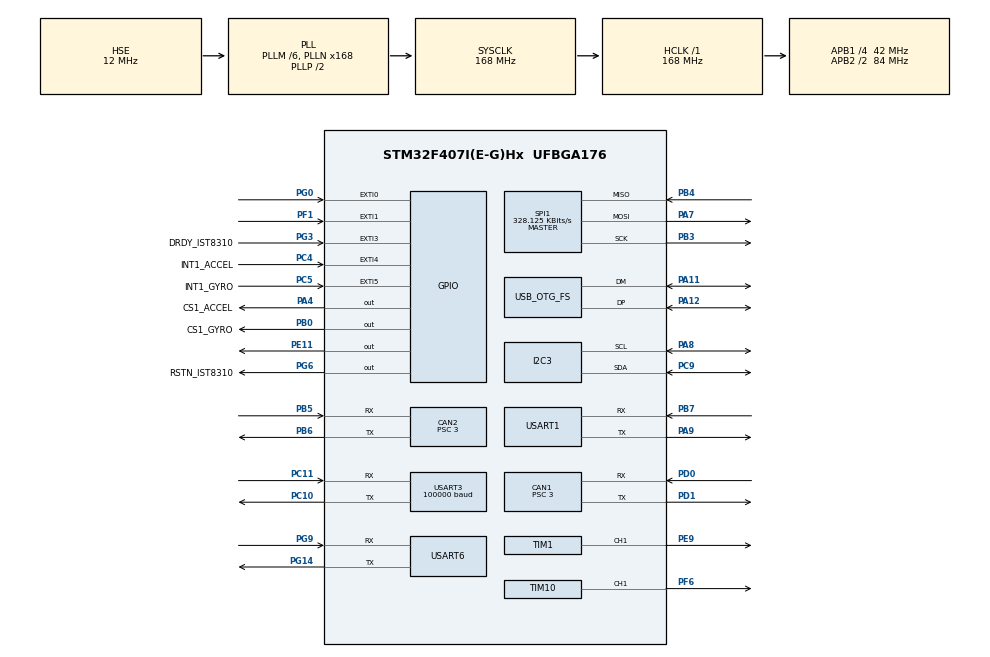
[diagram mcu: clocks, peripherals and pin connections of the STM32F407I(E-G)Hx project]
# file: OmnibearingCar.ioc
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CAN1.AWUM=ENABLE
CAN1.BS1=CAN_BS1_10TQ
CAN1.BS2=CAN_BS2_3TQ
CAN1.CalculateBaudRate=1000000
CAN1.CalculateTimeBit=1000
CAN1.CalculateTimeQuantum=71.42857142857143
CAN1.NART=ENABLE
CAN1.Prescaler=3
CAN2.AWUM=ENABLE
CAN2.BS1=CAN_BS1_10TQ
CAN2.BS2=CAN_BS2_3TQ
CAN2.CalculateBaudRate=1000000
CAN2.CalculateTimeBit=1000
CAN2.CalculateTimeQuantum=71.42857142857143
CAN2.NART=ENABLE
CAN2.Prescaler=3
Dma.Request0=SPI1_RX
Dma.Request1=SPI1_TX
Dma.Request2=USART6_RX
Dma.Request3=USART6_TX
Dma.Request4=USART1_TX
Dma.Request5=USART3_RX
Dma.SPI1_RX.0.Direction=DMA_PERIPH_TO_MEMORY
Dma.SPI1_RX.0.FIFOMode=DMA_FIFOMODE_DISABLE
Dma.SPI1_RX.0.Instance=DMA2_Stream2
Dma.SPI1_RX.0.MemDataAlignment=DMA_MDATAALIGN_BYTE
Dma.SPI1_RX.0.MemInc=DMA_MINC_ENABLE
Dma.SPI1_RX.0.Mode=DMA_NORMAL
Dma.SPI1_RX.0.PeriphDataAlignment=DMA_PDATAALIGN_BYTE
Dma.SPI1_RX.0.PeriphInc=DMA_PINC_DISABLE
Dma.SPI1_RX.0.Priority=DMA_PRIORITY_LOW
Dma.SPI1_TX.1.Direction=DMA_MEMORY_TO_PERIPH
Dma.SPI1_TX.1.FIFOMode=DMA_FIFOMODE_DISABLE
Dma.SPI1_TX.1.Instance=DMA2_Stream3
Dma.SPI1_TX.1.MemDataAlignment=DMA_MDATAALIGN_BYTE
Dma.SPI1_TX.1.MemInc=DMA_MINC_ENABLE
Dma.SPI1_TX.1.Mode=DMA_NORMAL
Dma.SPI1_TX.1.PeriphDataAlignment=DMA_PDATAALIGN_BYTE
Dma.SPI1_TX.1.PeriphInc=DMA_PINC_DISABLE
Dma.SPI1_TX.1.Priority=DMA_PRIORITY_LOW
Dma.USART1_TX.4.Direction=DMA_MEMORY_TO_PERIPH
Dma.USART1_TX.4.FIFOMode=DMA_FIFOMODE_DISABLE
Dma.USART1_TX.4.Instance=DMA2_Stream7
Dma.USART1_TX.4.MemDataAlignment=DMA_MDATAALIGN_BYTE
Dma.USART1_TX.4.MemInc=DMA_MINC_ENABLE
Dma.USART1_TX.4.Mode=DMA_NORMAL
Dma.USART1_TX.4.PeriphDataAlignment=DMA_PDATAALIGN_BYTE
Dma.USART1_TX.4.PeriphInc=DMA_PINC_DISABLE
Dma.USART1_TX.4.Priority=DMA_PRIORITY_LOW
Dma.USART3_RX.5.Direction=DMA_PERIPH_TO_MEMORY
Dma.USART3_RX.5.FIFOMode=DMA_FIFOMODE_DISABLE
Dma.USART3_RX.5.Instance=DMA1_Stream1
Dma.USART3_RX.5.MemDataAlignment=DMA_MDATAALIGN_BYTE
Dma.USART3_RX.5.MemInc=DMA_MINC_ENABLE
Dma.USART3_RX.5.Mode=DMA_CIRCULAR
Dma.USART3_RX.5.PeriphDataAlignment=DMA_PDATAALIGN_BYTE
Dma.USART3_RX.5.PeriphInc=DMA_PINC_DISABLE
Dma.USART3_RX.5.Priority=DMA_PRIORITY_LOW
Dma.USART6_RX.2.Direction=DMA_PERIPH_TO_MEMORY
Dma.USART6_RX.2.FIFOMode=DMA_FIFOMODE_DISABLE
Dma.USART6_RX.2.Instance=DMA2_Stream1
Dma.USART6_RX.2.MemDataAlignment=DMA_MDATAALIGN_BYTE
Dma.USART6_RX.2.MemInc=DMA_MINC_ENABLE
Dma.USART6_RX.2.Mode=DMA_CIRCULAR
Dma.USART6_RX.2.PeriphDataAlignment=DMA_PDATAALIGN_BYTE
Dma.USART6_RX.2.PeriphInc=DMA_PINC_DISABLE
Dma.USART6_RX.2.Priority=DMA_PRIORITY_LOW
Dma.USART6_TX.3.Direction=DMA_MEMORY_TO_PERIPH
Dma.USART6_TX.3.FIFOMode=DMA_FIFOMODE_DISABLE
Dma.USART6_TX.3.Instance=DMA2_Stream6
Dma.USART6_TX.3.MemDataAlignment=DMA_MDATAALIGN_BYTE
Dma.USART6_TX.3.MemInc=DMA_MINC_ENABLE
Dma.USART6_TX.3.Mode=DMA_CIRCULAR
Dma.USART6_TX.3.PeriphDataAlignment=DMA_PDATAALIGN_BYTE
Dma.USART6_TX.3.PeriphInc=DMA_PINC_DISABLE
Dma.USART6_TX.3.Priority=DMA_PRIORITY_LOW
FREERTOS.INCLUDE_eTaskGetState=1
FREERTOS.INCLUDE_pcTaskGetTaskName=1
FREERTOS.INCLUDE_uxTaskGetStackHighWaterMark=1
FREERTOS.INCLUDE_uxTaskGetStackHighWaterMark2=1
FREERTOS.INCLUDE_vTaskCleanUpResources=1
FREERTOS.INCLUDE_vTaskDelayUntil=1
FREERTOS.INCLUDE_xQueueGetMutexHolder=1
FREERTOS.INCLUDE_xSemaphoreGetMutexHolder=1
FREERTOS.INCLUDE_xTaskAbortDelay=1
FREERTOS.INCLUDE_xTaskGetCurrentTaskHandle=1
FREERTOS.INCLUDE_xTaskGetHandle=1
FREERTOS.Tasks01=Chassis,3,256,ChassisTask,As weak,NULL,Dynamic,NULL,NULL;Gimbal,3,256,GimbalTask,As weak,NULL,Dynamic,NULL,NULL;Shoot,3,256,ShootTask,As weak,NULL,Dynamic,NULL,NULL;IMU_TASK,3,256,INS_Task,As weak,NULL,Dynamic,NULL,NULL;UI,0,256,UI_Task,As weak,NULL,Dynamic,NULL,NULL
I2C3.I2C_Mode=I2C_Fast
Mcu.Family=STM32F4
Mcu.Name=STM32F407I(E-G)Hx
Mcu.Package=UFBGA176
NVIC.CAN1_RX0_IRQn=true\:5\:0\:false\:false\:true\:true\:true\:true\:true
NVIC.CAN2_RX1_IRQn=true\:5\:0\:false\:false\:true\:true\:true\:true\:true
NVIC.DMA1_Stream1_IRQn=true\:5\:0\:false\:false\:true\:true\:false\:true\:true
NVIC.DMA2_Stream1_IRQn=true\:5\:0\:false\:false\:true\:true\:false\:true\:true
NVIC.DMA2_Stream2_IRQn=true\:5\:0\:false\:false\:true\:true\:false\:true\:true
NVIC.DMA2_Stream3_IRQn=true\:5\:0\:false\:false\:true\:true\:false\:true\:true
NVIC.DMA2_Stream6_IRQn=true\:5\:0\:false\:false\:true\:true\:false\:true\:true
NVIC.DMA2_Stream7_IRQn=true\:5\:0\:false\:false\:true\:true\:false\:true\:true
NVIC.EXTI0_IRQn=true\:5\:0\:true\:false\:true\:true\:true\:true\:true
NVIC.EXTI1_IRQn=true\:5\:0\:false\:false\:true\:true\:true\:true\:true
NVIC.EXTI3_IRQn=true\:5\:0\:false\:false\:true\:true\:true\:true\:true
NVIC.EXTI4_IRQn=true\:5\:0\:false\:false\:true\:true\:true\:true\:true
NVIC.EXTI9_5_IRQn=true\:5\:0\:false\:false\:true\:true\:true\:true\:true
NVIC.OTG_FS_IRQn=true\:5\:0\:false\:false\:true\:true\:false\:true\:true
NVIC.PriorityGroup=NVIC_PRIORITYGROUP_4
NVIC.TIM2_IRQn=true\:15\:0\:false\:false\:true\:false\:false\:true\:true
NVIC.TimeBase=TIM2_IRQn
NVIC.TimeBaseIP=TIM2
NVIC.USART1_IRQn=true\:5\:0\:false\:false\:true\:true\:true\:true\:true
NVIC.USART3_IRQn=true\:5\:0\:false\:false\:true\:true\:true\:true\:true
NVIC.USART6_IRQn=true\:5\:0\:false\:false\:true\:true\:true\:true\:true
PA11.Mode=Device_Only
PA11.Signal=USB_OTG_FS_DM
PA12.Mode=Device_Only
PA12.Signal=USB_OTG_FS_DP
PA13.Mode=Serial_Wire
PA13.Signal=SYS_JTMS-SWDIO
PA14.Mode=Serial_Wire
PA14.Signal=SYS_JTCK-SWCLK
PA4.GPIO_Label=CS1_ACCEL
PA4.GPIO_PuPd=GPIO_PULLUP
PA4.GPIO_Speed=GPIO_SPEED_FREQ_HIGH
PA4.PinState=GPIO_PIN_SET
PA4.Signal=GPIO_Output
PA7.Mode=Full_Duplex_Master
PA7.Signal=SPI1_MOSI
PA8.Mode=I2C
PA8.Signal=I2C3_SCL
PA9.Mode=Asynchronous
PA9.Signal=USART1_TX
PB0.GPIO_Label=CS1_GYRO
PB0.GPIO_ModeDefaultOutputPP=GPIO_MODE_OUTPUT_PP
PB0.GPIO_PuPd=GPIO_PULLUP
PB0.GPIO_Speed=GPIO_SPEED_FREQ_HIGH
PB0.PinState=GPIO_PIN_SET
PB0.Signal=GPIO_Output
PB3.Mode=Full_Duplex_Master
PB3.Signal=SPI1_SCK
PB4.Mode=Full_Duplex_Master
PB4.Signal=SPI1_MISO
PB5.Mode=CAN_Activate
PB5.Signal=CAN2_RX
PB6.Mode=CAN_Activate
PB6.Signal=CAN2_TX
PB7.Mode=Asynchronous
PB7.Signal=USART1_RX
PC10.Mode=Asynchronous
PC10.Signal=USART3_TX
PC11.Mode=Asynchronous
PC11.Signal=USART3_RX
PC14-OSC32_IN.Mode=LSE-External-Oscillator
PC14-OSC32_IN.Signal=RCC_OSC32_IN
PC15-OSC32_OUT.Mode=LSE-External-Oscillator
PC15-OSC32_OUT.Signal=RCC_OSC32_OUT
PC4.GPIO_Label=INT1_ACCEL
PC4.GPIO_PuPd=GPIO_PULLUP
PC4.Signal=GPXTI4
PC5.GPIO_Label=INT1_GYRO
PC5.GPIO_PuPd=GPIO_PULLUP
PC5.Signal=GPXTI5
PC9.Mode=I2C
PC9.Signal=I2C3_SDA
PD0.Mode=CAN_Activate
PD0.Signal=CAN1_RX
PD1.Mode=CAN_Activate
PD1.Signal=CAN1_TX
PE11.Signal=GPIO_Output
PE9.Signal=S_TIM1_CH1
PF1.Signal=GPXTI1
PF6.GPIO_PuPd=GPIO_PULLUP
PF6.GPIO_Speed=GPIO_SPEED_FREQ_HIGH
PF6.Signal=S_TIM10_CH1
PG0.GPIO_PuPd=GPIO_PULLUP
PG0.Signal=GPXTI0
PG14.Mode=Asynchronous
PG14.Signal=USART6_TX
PG3.GPIO_Label=DRDY_IST8310
PG3.GPIO_PuPd=GPIO_PULLUP
PG3.Signal=GPXTI3
PG6.GPIO_Label=RSTN_IST8310
PG6.GPIO_ModeDefaultOutputPP=GPIO_MODE_OUTPUT_PP
PG6.GPIO_PuPd=GPIO_PULLUP
PG6.GPIO_Speed=GPIO_SPEED_FREQ_MEDIUM
PG6.PinState=GPIO_PIN_SET
PG6.Signal=GPIO_Output
PG9.Mode=Asynchronous
PG9.Signal=USART6_RX
PH0-OSC_IN.Mode=HSE-External-Oscillator
PH0-OSC_IN.Signal=RCC_OSC_IN
PH1-OSC_OUT.Mode=HSE-External-Oscillator
PH1-OSC_OUT.Signal=RCC_OSC_OUT
ProjectManager.HeapSize=0x200
ProjectManager.StackSize=0x400
ProjectManager.TargetToolchain=MDK-ARM V5.32
RCC.48MHZClocksFreq_Value=48000000
RCC.AHBFreq_Value=168000000
RCC.APB1CLKDivider=RCC_HCLK_DIV4
RCC.APB1Freq_Value=42000000
RCC.APB1TimFreq_Value=84000000
RCC.APB2CLKDivider=RCC_HCLK_DIV2
RCC.APB2Freq_Value=84000000
RCC.APB2TimFreq_Value=168000000
RCC.CortexFreq_Value=168000000
RCC.HCLKFreq_Value=168000000
RCC.HSE_VALUE=12000000
RCC.HSI_VALUE=16000000
RCC.PLLM=6
RCC.PLLN=168
RCC.PLLQ=7
RCC.SYSCLKFreq_VALUE=168000000
RCC.SYSCLKSource=RCC_SYSCLKSOURCE_PLLCLK
RCC.VCOOutputFreq_Value=336000000
SH.S_TIM10_CH1.0=TIM10_CH1,PWM Generation1 CH1
SH.S_TIM1_CH1.0=TIM1_CH1,PWM Generation1 CH1
SPI1.BaudRatePrescaler=SPI_BAUDRATEPRESCALER_256
SPI1.CLKPhase=SPI_PHASE_2EDGE
SPI1.CLKPolarity=SPI_POLARITY_HIGH
SPI1.CalculateBaudRate=328.125 KBits/s
SPI1.Direction=SPI_DIRECTION_2LINES
SPI1.Mode=SPI_MODE_MASTER
SPI1.VirtualType=VM_MASTER
TIM1.Channel-PWM\ Generation1\ CH1=TIM_CHANNEL_1
TIM1.Period=20000-1
TIM1.Prescaler=168-1
TIM1.Pulse-PWM\ Generation1\ CH1=2000
TIM10.Channel=TIM_CHANNEL_1
TIM10.OC1Preload_PWM=ENABLE
TIM10.Period=5000-1
USART1.VirtualMode=VM_ASYNC
USART3.BaudRate=100000
USART3.Parity=PARITY_EVEN
USART3.VirtualMode=VM_ASYNC
USART3.WordLength=WORDLENGTH_9B
USART6.VirtualMode=VM_ASYNC
USB_DEVICE.CLASS_NAME_FS=CDC
USB_DEVICE.VirtualMode-CDC_FS=Cdc
USB_DEVICE.VirtualModeFS=Cdc_FS
USB_OTG_FS.VirtualMode=Device_Only
VP_FREERTOS_VS_CMSIS_V1.Mode=CMSIS_V1
VP_SYS_VS_tim2.Mode=TIM2
VP_TIM10_VS_ClockSourceINT.Mode=Enable_Timer
VP_TIM1_VS_ClockSourceINT.Mode=Internal
VP_USB_DEVICE_VS_USB_DEVICE_CDC_FS.Mode=CDC_FS
board=custom

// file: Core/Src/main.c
/* USER CODE BEGIN Header */
/**
  ******************************************************************************
  * @file           : main.c
  * @brief          : Main program body
  ******************************************************************************
  * @attention
  *
  * Copyright (c) 2024 STMicroelectronics.
  * All rights reserved.
  *
  * This software is licensed under terms that can be found in the LICENSE file
  * in the root directory of this software component.
  * If no LICENSE file comes with this software, it is provided AS-IS.
  *
  ******************************************************************************
  */
/* USER CODE END Header */
#include "main.h"
#include "cmsis_os.h"
#include "can.h"
#include "dma.h"
#include "i2c.h"
#include "spi.h"
#include "tim.h"
#include "usart.h"
#include "usb_device.h"
#include "gpio.h"

/* USER CODE BEGIN Includes */
#include "dri_can.h"
#include "dri_uart.h"
#include "Car_Mode.h"
#include "dvc_dji_gm6020.h"
#include "dvc_dji_m3508.h"
#include "dvc_dr16.h"
#include "Chassis.h"
#include "Gimbal.h"
#include "dvc_dji_m2006.h"
#include "IMU_Task.h"
#include "dvc_judge.h"
#include "dvc_supercap.h"

/* USER CODE END Includes */

/* USER CODE BEGIN PTD */
/******************************陀螺仪解算相关系数*******************************/
float INS_angle[3] = {0.0f, 0.0f, 0.0f};
float IMU_angle[3] = {0.0f, 0.0f, 0.0f};
/******************************整车电机相关系数*******************************/
Moto_M3508_t M3508_Chassis[4],M3508_Shoot[2];
Moto_GM6020_t GM6020_Yaw,GM6020_Pitch;
Moto_M2006_t M2006_Rammer;
float Set_Yaw,Set_Pitch;
Car_Mode_t Car_Mode;
float ZiMiao_Add_Yaw,ZiMiao_Add_Pitch;
/******************************遥控器相关系数*******************************/
RC_t RC;
uint8_t RC_Data[18];
/******************************底盘解算相关系数*******************************/
Chassis_Speed_t Temp1_Chassis_Speed,Temp2_Chassis_Speed;Chassis_Speed_t Chassis_Speed;
Gimbal_Add_t Gimbal_Add;
PID_struct_t Follow_PID;
/******************************小电脑通信相关系数*******************************/
Computer_Rx_Message_t Computer_Rx_Message;
Computer_Tx_Message_t Computer_Tx_Message;
uint8_t judge_rx_buff[JUDGE_MAX_LENGTH];
/*******************************裁判系统相关系数******************************/
float Chassis_Power_Limit,Chassis_Power_Buffer;
/*******************************超电相关系数******************************/
SuperCap_Tx_Message_t SuperCap_Tx_Message;
SuperCap_Rx_Message_t SuperCap_Rx_Message;
SuperCap_Mode_t SuperCap_Mode;
SuperCap_Switch_t SuperCap_Switch;
/* USER CODE END PTD */

void SystemClock_Config(void);
void MX_FREERTOS_Init(void);

int main(void)
{

  /* MCU Configuration--------------------------------------------------------*/

  /* Reset of all peripherals, Initializes the Flash interface and the Systick. */
  HAL_Init();

  /* Configure the system clock */
  SystemClock_Config();

  /* Initialize all configured peripherals */
  MX_GPIO_Init();
  MX_DMA_Init();
  MX_CAN1_Init();
  MX_USART3_UART_Init();
  MX_TIM1_Init();
  MX_CAN2_Init();
  MX_SPI1_Init();
  MX_TIM10_Init();
  MX_I2C3_Init();
  MX_USART6_UART_Init();
  MX_USART1_UART_Init();
  /* USER CODE BEGIN 2 */
    CAN_Filter_Init();//can1,can2过滤器配置及初始化
	HAL_UART_Receive_DMA(&huart3,RC_Data,sizeof(RC_Data));//开启uart3 DMA接收遥控器消息
  __HAL_UART_ENABLE_IT(&huart6, UART_IT_IDLE);//使能uart6中断,用于裁判系统读取
	HAL_UART_Receive_DMA(&huart6,judge_rx_buff,2000);//打开DMA接收，数据存入rx_buffer_judge数组中
	Car_Init();//初始化车辆模式
	MX_USB_DEVICE_Init();//开启虚拟串口，接收小电脑数据
	Computer_Init();//小电脑通信初始化
  /* USER CODE END 2 */

  /* Call init function for freertos objects (in cmsis_os2.c) */
  MX_FREERTOS_Init();

  /* Start scheduler */
  osKernelStart();

  /* We should never get here as control is now taken by the scheduler */

  /* Infinite loop */
  while (1)
  {

  }
}

void SystemClock_Config(void)
{
  RCC_OscInitTypeDef RCC_OscInitStruct = {0};
  RCC_ClkInitTypeDef RCC_ClkInitStruct = {0};

  /** Configure the main internal regulator output voltage
  */
  __HAL_RCC_PWR_CLK_ENABLE();
  __HAL_PWR_VOLTAGESCALING_CONFIG(PWR_REGULATOR_VOLTAGE_SCALE1);

  /** Initializes the RCC Oscillators according to the specified parameters
  * in the RCC_OscInitTypeDef structure.
  */
  RCC_OscInitStruct.OscillatorType = RCC_OSCILLATORTYPE_HSE;
  RCC_OscInitStruct.HSEState = RCC_HSE_ON;
  RCC_OscInitStruct.PLL.PLLState = RCC_PLL_ON;
  RCC_OscInitStruct.PLL.PLLSource = RCC_PLLSOURCE_HSE;
  RCC_OscInitStruct.PLL.PLLM = 6;
  RCC_OscInitStruct.PLL.PLLN = 168;
  RCC_OscInitStruct.PLL.PLLP = RCC_PLLP_DIV2;
  RCC_OscInitStruct.PLL.PLLQ = 7;
  if (HAL_RCC_OscConfig(&RCC_OscInitStruct) != HAL_OK)
  {
    Error_Handler();
  }

  /** Initializes the CPU, AHB and APB buses clocks
  */
  RCC_ClkInitStruct.ClockType = RCC_CLOCKTYPE_HCLK|RCC_CLOCKTYPE_SYSCLK
                              |RCC_CLOCKTYPE_PCLK1|RCC_CLOCKTYPE_PCLK2;
  RCC_ClkInitStruct.SYSCLKSource = RCC_SYSCLKSOURCE_PLLCLK;
  RCC_ClkInitStruct.AHBCLKDivider = RCC_SYSCLK_DIV1;
  RCC_ClkInitStruct.APB1CLKDivider = RCC_HCLK_DIV4;
  RCC_ClkInitStruct.APB2CLKDivider = RCC_HCLK_DIV2;

  if (HAL_RCC_ClockConfig(&RCC_ClkInitStruct, FLASH_LATENCY_5) != HAL_OK)
  {
    Error_Handler();
  }
}

void HAL_TIM_PeriodElapsedCallback(TIM_HandleTypeDef *htim)
{
  if (htim->Instance == TIM2)
  {
    HAL_IncTick();
  }
}

void Error_Handler(void)
{
  __disable_irq();
  while (1)
  {
  }
}

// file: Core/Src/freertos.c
/* USER CODE BEGIN Header */
/**
  ******************************************************************************
  * File Name          : freertos.c
  * Description        : Code for freertos applications
  ******************************************************************************
  * @attention
  *
  * Copyright (c) 2024 STMicroelectronics.
  * All rights reserved.
  *
  * This software is licensed under terms that can be found in the LICENSE file
  * in the root directory of this software component.
  * If no LICENSE file comes with this software, it is provided AS-IS.
  *
  ******************************************************************************
  */
/* USER CODE END Header */

#include "FreeRTOS.h"
#include "task.h"
#include "main.h"
#include "cmsis_os.h"

osThreadId ChassisHandle;
osThreadId GimbalHandle;
osThreadId ShootHandle;
osThreadId IMU_TASKHandle;
osThreadId UIHandle;

void ChassisTask(void const * argument);
void GimbalTask(void const * argument);
void ShootTask(void const * argument);
void INS_Task(void const * argument);
void UI_Task(void const * argument);

extern void MX_USB_DEVICE_Init(void);
void MX_FREERTOS_Init(void); /* (MISRA C 2004 rule 8.1) */

/* GetIdleTaskMemory prototype (linked to static allocation support) */
void vApplicationGetIdleTaskMemory( StaticTask_t **ppxIdleTaskTCBBuffer, StackType_t **ppxIdleTaskStackBuffer, uint32_t *pulIdleTaskStackSize );

/* USER CODE BEGIN GET_IDLE_TASK_MEMORY */
static StaticTask_t xIdleTaskTCBBuffer;
static StackType_t xIdleStack[configMINIMAL_STACK_SIZE];

void vApplicationGetIdleTaskMemory( StaticTask_t **ppxIdleTaskTCBBuffer, StackType_t **ppxIdleTaskStackBuffer, uint32_t *pulIdleTaskStackSize )
{
  *ppxIdleTaskTCBBuffer = &xIdleTaskTCBBuffer;
  *ppxIdleTaskStackBuffer = &xIdleStack[0];
  *pulIdleTaskStackSize = configMINIMAL_STACK_SIZE;
  /* place for user code */
}
/* USER CODE END GET_IDLE_TASK_MEMORY */

void MX_FREERTOS_Init(void) {

  /* Create the thread(s) */
  /* definition and creation of Chassis */
  osThreadDef(Chassis, ChassisTask, osPriorityRealtime, 0, 256);
  ChassisHandle = osThreadCreate(osThread(Chassis), NULL);

  /* definition and creation of Gimbal */
  osThreadDef(Gimbal, GimbalTask, osPriorityRealtime, 0, 256);
  GimbalHandle = osThreadCreate(osThread(Gimbal), NULL);

  /* definition and creation of Shoot */
  osThreadDef(Shoot, ShootTask, osPriorityRealtime, 0, 256);
  ShootHandle = osThreadCreate(osThread(Shoot), NULL);

  /* definition and creation of IMU_TASK */
  osThreadDef(IMU_TASK, INS_Task, osPriorityRealtime, 0, 256);
  IMU_TASKHandle = osThreadCreate(osThread(IMU_TASK), NULL);

  /* definition and creation of UI */
  osThreadDef(UI, UI_Task, osPriorityNormal, 0, 256);
  UIHandle = osThreadCreate(osThread(UI), NULL);

}

__weak void ChassisTask(void const * argument)
{
  /* init code for USB_DEVICE */
  MX_USB_DEVICE_Init();
  for(;;)
  {
    osDelay(1);
  }
}

__weak void GimbalTask(void const * argument)
{
  for(;;)
  {
    osDelay(1);
  }
}

__weak void ShootTask(void const * argument)
{
  for(;;)
  {
    osDelay(1);
  }
}

__weak void INS_Task(void const * argument)
{
  for(;;)
  {
    osDelay(1);
  }
}

__weak void UI_Task(void const * argument)
{
  for(;;)
  {
    osDelay(1);
  }
}
